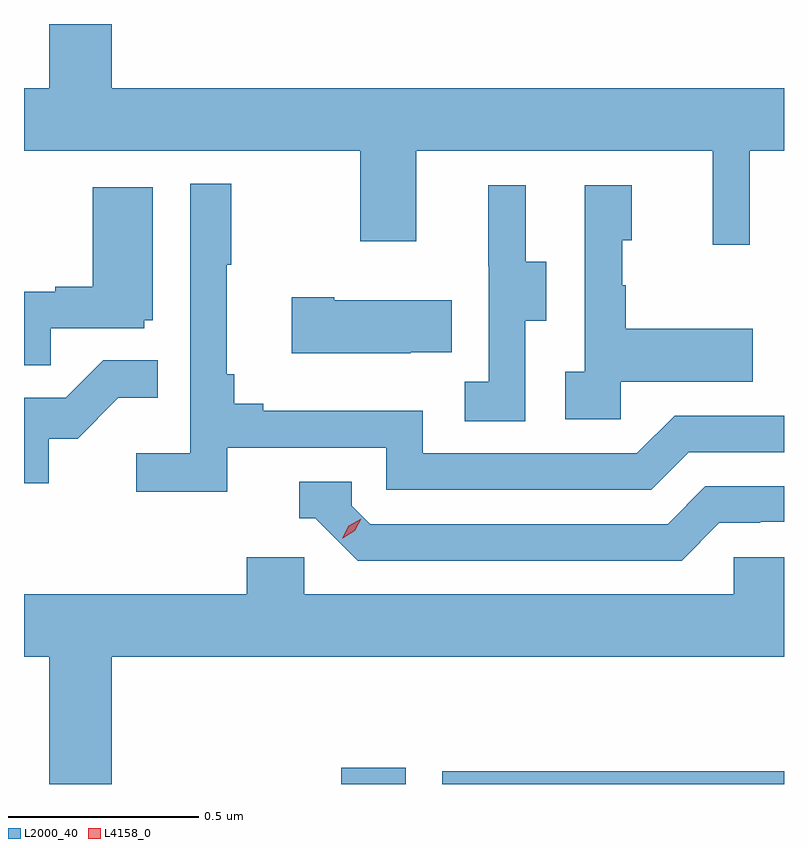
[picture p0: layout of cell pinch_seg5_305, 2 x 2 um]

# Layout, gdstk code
import gdstk
lib = gdstk.Library(unit=1e-6, precision=1e-09)
def R(c, l, rs):  # rectangles x0, y0, x1, y1
    for r in rs: c.add(gdstk.rectangle(r[:2], r[2:], *l))
def P(c, l, *ps):  # polygons
    for p in ps: c.add(gdstk.Polygon(p, *l))
L2000_40 = (2000, 40)
L4158_0 = (4158, 0)

pinch_seg5_305 = lib.new_cell('pinch_seg5_305')
R(pinch_seg5_305, L2000_40, [(921.02,887.061,921.19,887.104), (921.285,887.061,922.185,887.095)])
P(pinch_seg5_305, L2000_40, [(922.095,888.728),(922.185,888.728),(922.185,888.892),(920.416,888.892),(920.416,889.061),(920.252,889.061),(920.252,888.892),(920.185,888.892),(920.185,888.728),(921.07,888.728),(921.07,888.489),(921.217,888.489),(921.217,888.728),(921.998,888.728),(921.998,888.48),(922.095,888.48)],
  [(920.72,887.946),(921.138,887.946),(921.138,887.835),(921.835,887.835),(921.934,887.934),(922.185,887.934),(922.185,888.03),(921.897,888.03),(921.798,887.931),(921.234,887.931),(921.234,888.043),(920.815,888.043),(920.815,888.062),(920.738,888.062),(920.738,888.139),(920.719,888.139),(920.719,888.427),(920.731,888.427),(920.731,888.64),(920.622,888.64),(920.622,887.932),(920.481,887.932),(920.481,887.83),(920.72,887.83)],
  [(921.756,888.119),(922.103,888.119),(922.103,888.259),(921.769,888.259),(921.769,888.374),(921.759,888.374),(921.759,888.492),(921.784,888.492),(921.784,888.637),(921.66,888.637),(921.66,888.146),(921.609,888.146),(921.609,888.021),(921.756,888.021)],
  [(921.504,888.28),(921.559,888.28),(921.559,888.435),(921.505,888.435),(921.505,888.637),(921.407,888.637),(921.407,888.423),(921.408,888.423),(921.408,888.119),(921.345,888.119),(921.345,888.016),(921.504,888.016)],
  [(920.255,888.261),(920.502,888.261),(920.502,888.282),(920.524,888.282),(920.524,888.631),(920.366,888.631),(920.366,888.37),(920.267,888.37),(920.267,888.357),(920.185,888.357),(920.185,888.163),(920.255,888.163)],
  [(921.203,888.197),(921.311,888.197),(921.311,888.334),(921.001,888.334),(921.001,888.342),(920.889,888.342),(920.889,888.194),(921.203,888.194)],
  [(920.25,887.97),(920.326,887.97),(920.433,888.077),(920.537,888.077),(920.537,888.176),(920.393,888.176),(920.295,888.078),(920.185,888.078),(920.185,887.853),(920.25,887.853)],
  [(922.015,887.748),(922.122,887.748),(922.122,887.751),(922.185,887.751),(922.185,887.844),(921.978,887.844),(921.879,887.745),(921.096,887.745),(921.048,887.793),(921.048,887.856),(920.909,887.856),(920.909,887.76),(920.952,887.76),(921.063,887.649),(921.916,887.649)],
  [(920.416,887.396),(922.185,887.396),(922.185,887.658),(922.053,887.658),(922.053,887.56),(920.922,887.56),(920.922,887.658),(920.771,887.658),(920.771,887.56),(920.185,887.56),(920.185,887.396),(920.252,887.396),(920.252,887.061),(920.416,887.061)])
P(pinch_seg5_305, L4158_0, [(921.023,887.708),(921.023,887.708),(921.04,887.74),(921.072,887.759),(921.072,887.759),(921.072,887.759),(921.055,887.727),(921.024,887.708)])

lib.write_gds('pinch_seg5_305.gds')
